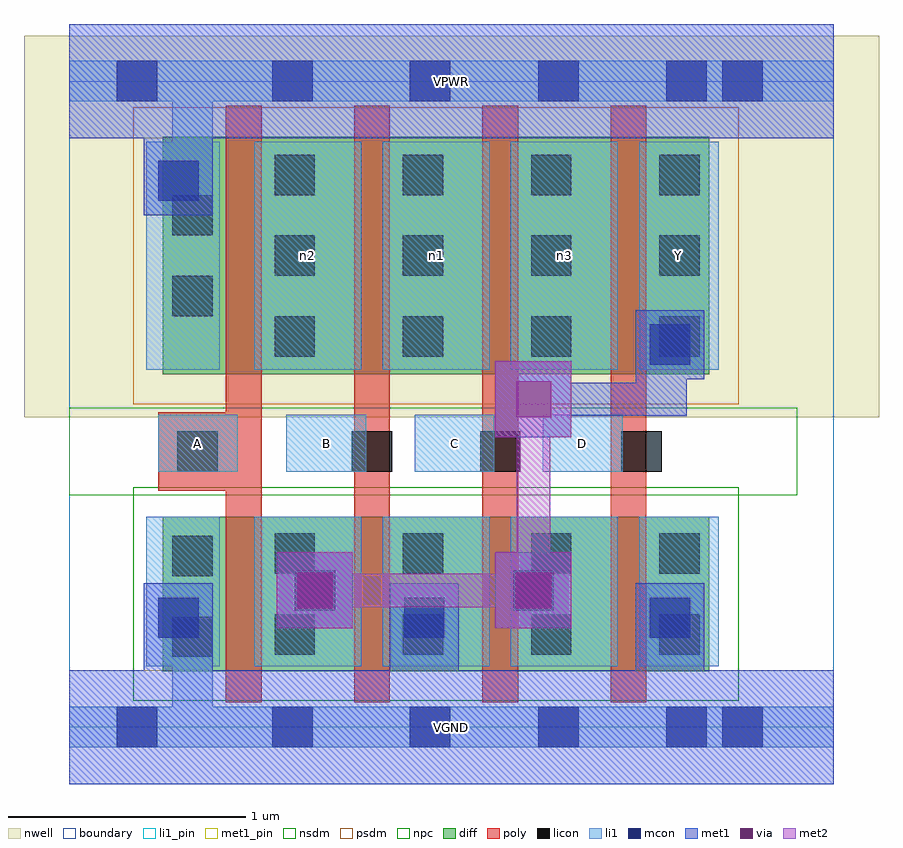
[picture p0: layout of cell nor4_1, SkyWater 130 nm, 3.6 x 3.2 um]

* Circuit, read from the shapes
.subckt nor4_1 A B C D VGND VPWR Y n1 n2 n3
XM1 Y A VGND VSUBS sky130_fd_pr__nfet_01v8 w=0.65 l=0.15
XM2 VGND B Y VSUBS sky130_fd_pr__nfet_01v8 w=0.65 l=0.15
XM3 Y C VGND VSUBS sky130_fd_pr__nfet_01v8 w=0.65 l=0.15
XM4 VGND D Y VSUBS sky130_fd_pr__nfet_01v8 w=0.65 l=0.15
XM5 n2 A VPWR n4 sky130_fd_pr__pfet_01v8 w=1 l=0.15
XM6 n1 B n2 n4 sky130_fd_pr__pfet_01v8 w=1 l=0.15
XM7 n3 C n1 n4 sky130_fd_pr__pfet_01v8 w=1 l=0.15
XM8 Y D n3 n4 sky130_fd_pr__pfet_01v8 w=1 l=0.15
.ends

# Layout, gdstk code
import gdstk
lib = gdstk.Library(unit=1e-6, precision=1e-09)
def R(c, l, rs):  # rectangles x0, y0, x1, y1
    for r in rs: c.add(gdstk.rectangle(r[:2], r[2:], *l))
def A(c, l, x, y, w, h, nx, ny, dx, dy):  # array of equal rectangles
    R(c, l, [(x+i*dx, y+j*dy, x+i*dx+w, y+j*dy+h) for i in range(nx) for j in range(ny)])
nwell = (64, 20)
diff = (65, 20)
poly = (66, 20)
licon = (66, 44)
li1_pin = (67, 16)
li1 = (67, 20)
mcon = (67, 44)
met1_pin = (68, 16)
met1 = (68, 20)
via = (68, 44)
met2 = (69, 20)
nsdm = (93, 44)
psdm = (94, 20)
npc = (95, 20)
boundary = (235, 4)

nor4_1 = lib.new_cell('nor4_1')
R(nor4_1, nwell, [(-0.19,1.305,3.41,2.91), (0,1.305,3.22,2.91)])
R(nor4_1, diff, [(0.395,0.235,2.695,0.885), (0.395,1.485,2.695,2.485)])
A(nor4_1, poly, 0.66, 0.105, 0.15, 2.51, 4, 1, 0.54, 0)
R(nor4_1, poly, [(0.375,0.995,0.81,1.325)])
A(nor4_1, licon, 0.865, 0.305, 0.17, 0.17, 4, 2, 0.54, 0.34)
A(nor4_1, licon, 0.865, 1.56, 0.17, 0.17, 4, 3, 0.54, 0.34)
R(nor4_1, licon, [(0.435,0.295,0.605,0.465), (0.435,0.635,0.605,0.805), (0.455,1.075,0.625,1.245), (1.19,1.075,1.36,1.245), (1.73,1.075,1.9,1.245), (2.325,1.075,2.495,1.245), (0.435,1.73,0.605,1.9), (0.435,2.07,0.605,2.24)])
A(nor4_1, li1_pin, 0.375, 1.075, 0.335, 0.24, 4, 1, 0.54, 0)
R(nor4_1, li1_pin, [(2.4,1.505,2.735,2.465)])
A(nor4_1, li1, 0.78, 0.255, 0.45, 0.63, 3, 1, 0.54, 0)
A(nor4_1, li1, 0.375, 1.075, 0.335, 0.24, 4, 1, 0.54, 0)
A(nor4_1, li1, 0.78, 1.505, 0.45, 0.96, 3, 1, 0.54, 0)
R(nor4_1, li1, [(0,-0.085,3.22,0.085), (0.435,-0.085,0.605,0.805), (0.325,0.255,0.635,0.885), (2.4,0.255,2.735,0.885), (0.325,1.505,0.635,2.465), (2.4,1.505,2.735,2.465), (0.435,1.73,0.605,2.805), (0,2.635,3.22,2.805)])
A(nor4_1, mcon, 1.435, -0.085, 0.17, 0.17, 3, 2, 0.54, 2.72)
A(nor4_1, mcon, 0.375, 0.375, 0.17, 0.17, 3, 1, 1.035, 0)
R(nor4_1, mcon, [(0.2,-0.085,0.37,0.085), (0.855,-0.085,1.025,0.085), (2.75,-0.085,2.92,0.085), (0.95,0.49,1.12,0.66), (1.87,0.49,2.04,0.66), (2.445,1.525,2.615,1.695), (0.375,2.215,0.545,2.385), (0.2,2.635,0.37,2.805), (0.855,2.635,1.025,2.805), (2.75,2.635,2.92,2.805)])
R(nor4_1, met1_pin, [(0,-0.24,3.22,0.24), (0,2.48,3.22,2.96)])
A(nor4_1, met1, 0.315, 0.24, 0.29, 0.075, 3, 1, 1.035, 0)
A(nor4_1, met1, 0.315, 0.315, 0.29, 0.29, 3, 1, 1.035, 0)
R(nor4_1, met1, [(0,-0.24,3.22,0.24), (0.505,-0.07,0.645,0.185), (0.505,-0.07,1.565,0.07), (1.425,-0.07,1.565,0.53), (1.425,-0.07,2.6,0.07), (2.46,-0.07,2.6,0.53), (0.39,0.045,0.53,0.185), (0.39,0.045,0.53,0.53), (0.39,0.045,0.645,0.185), (0.39,0.185,0.605,0.315), (0.505,0.185,0.605,0.315), (0.875,0.415,1.195,0.735), (1.795,0.415,2.115,0.735), (0.89,0.43,1.18,0.72), (1.81,0.43,2.1,0.72), (1.795,1.22,2.115,1.54), (1.885,1.31,2.6,1.45), (2.46,1.31,2.6,1.68), (2.385,1.45,2.6,1.465), (2.385,1.465,2.675,1.755), (0.315,2.155,0.605,2.445), (0.39,2.23,0.53,2.715), (0.315,2.445,0.605,2.48), (0,2.48,3.22,2.96), (0.39,2.575,0.53,2.715)])
R(nor4_1, via, [(0.96,0.5,1.11,0.65), (1.88,0.5,2.03,0.65), (1.88,1.305,2.03,1.455)])
R(nor4_1, met2, [(0.875,0.415,1.195,0.735), (1.795,0.415,2.115,0.735), (0.965,0.505,2.025,0.645), (1.885,0.505,2.025,1.45), (1.795,1.22,2.115,1.54)])
R(nor4_1, nsdm, [(0.27,0.11,2.82,1.01)])
R(nor4_1, psdm, [(0.27,1.36,2.82,2.61)])
R(nor4_1, npc, [(0,0.975,3.065,1.345)])
R(nor4_1, boundary, [(0,0,3.22,2.72)])
nor4_1.add(gdstk.Label('A', (0.542,1.195), layer=67, texttype=5))
nor4_1.add(gdstk.Label('B', (1.082,1.195), layer=67, texttype=5))
nor4_1.add(gdstk.Label('C', (1.622,1.195), layer=67, texttype=5))
nor4_1.add(gdstk.Label('D', (2.162,1.195), layer=67, texttype=5))
nor4_1.add(gdstk.Label('Y', (2.567,1.985), layer=67, texttype=5))
nor4_1.add(gdstk.Label('n2', (1.005,1.985), layer=67, texttype=5))
nor4_1.add(gdstk.Label('n1', (1.545,1.985), layer=67, texttype=5))
nor4_1.add(gdstk.Label('n3', (2.085,1.985), layer=67, texttype=5))
nor4_1.add(gdstk.Label('VPWR', (1.61,2.72), layer=68, texttype=5))
nor4_1.add(gdstk.Label('VGND', (1.61,0), layer=68, texttype=5))
nor4_1.add(gdstk.Label('A', (0.542,1.195), layer=67, texttype=16))
nor4_1.add(gdstk.Label('B', (1.082,1.195), layer=67, texttype=16))
nor4_1.add(gdstk.Label('C', (1.622,1.195), layer=67, texttype=16))
nor4_1.add(gdstk.Label('D', (2.162,1.195), layer=67, texttype=16))
nor4_1.add(gdstk.Label('Y', (2.567,1.985), layer=67, texttype=16))
nor4_1.add(gdstk.Label('VPWR', (1.61,2.72), layer=68, texttype=16))
nor4_1.add(gdstk.Label('VGND', (1.61,0), layer=68, texttype=16))

lib.write_gds('nor4_1.gds')
